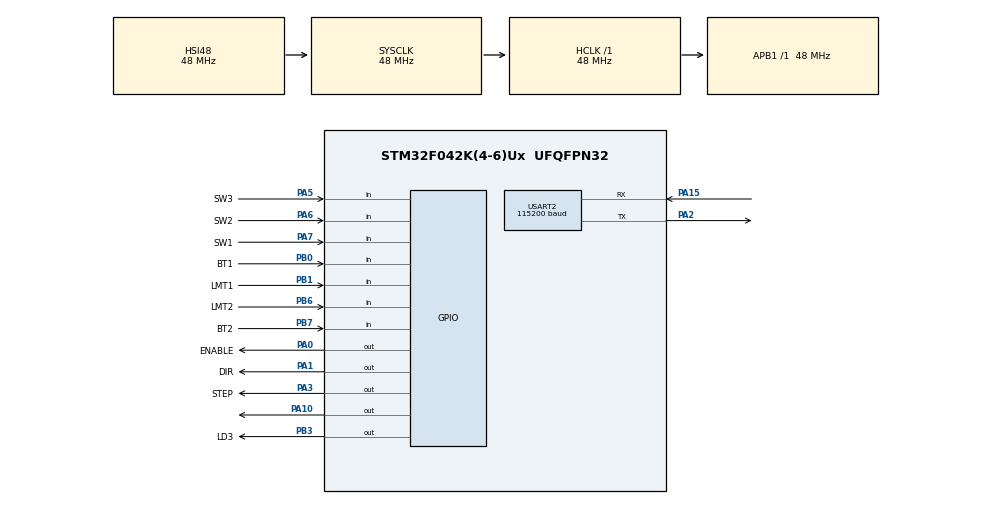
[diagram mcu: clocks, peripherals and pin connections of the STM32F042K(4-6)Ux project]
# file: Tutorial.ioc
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Mcu.Family=STM32F0
Mcu.Name=STM32F042K(4-6)Ux
Mcu.Package=UFQFPN32
NVIC.USART2_IRQn=true\:0\:0\:false\:false\:true\:true\:true\:true
PA0.GPIO_Label=ENABLE
PA0.Signal=GPIO_Output
PA1.GPIO_Label=DIR
PA1.Signal=GPIO_Output
PA10.GPIO_ModeDefaultOutputPP=GPIO_MODE_OUTPUT_OD
PA10.GPIO_PuPd=GPIO_NOPULL
PA10.Signal=GPIO_Output
PA15.Mode=Asynchronous
PA15.Signal=USART2_RX
PA2.Mode=Asynchronous
PA2.Signal=USART2_TX
PA3.GPIO_Label=STEP
PA3.Signal=GPIO_Output
PA5.GPIO_Label=SW3
PA5.GPIO_PuPd=GPIO_PULLDOWN
PA5.Signal=GPIO_Input
PA6.GPIO_Label=SW2
PA6.GPIO_PuPd=GPIO_PULLDOWN
PA6.Signal=GPIO_Input
PA7.GPIO_Label=SW1
PA7.GPIO_PuPd=GPIO_PULLDOWN
PA7.Signal=GPIO_Input
PB0.GPIO_Label=BT1
PB0.GPIO_PuPd=GPIO_PULLDOWN
PB0.Signal=GPIO_Input
PB1.GPIO_Label=LMT1
PB1.GPIO_PuPd=GPIO_PULLDOWN
PB1.Signal=GPIO_Input
PB3.GPIO_Label=LD3
PB3.GPIO_PuPd=GPIO_NOPULL
PB3.Signal=GPIO_Output
PB6.GPIO_Label=LMT2
PB6.GPIO_PuPd=GPIO_PULLDOWN
PB6.Signal=GPIO_Input
PB7.GPIO_Label=BT2
PB7.GPIO_PuPd=GPIO_PULLDOWN
PB7.Signal=GPIO_Input
PF0-OSC_IN.Mode=HSE-External-Oscillator
PF0-OSC_IN.Signal=RCC_OSC_IN
PF1-OSC_OUT.Mode=HSE-External-Oscillator
PF1-OSC_OUT.Signal=RCC_OSC_OUT
ProjectManager.HeapSize=0x200
ProjectManager.StackSize=0x400
ProjectManager.TargetToolchain=STM32CubeIDE
RCC.AHBFreq_Value=48000000
RCC.APB1Freq_Value=48000000
RCC.APB1TimFreq_Value=48000000
RCC.HCLKFreq_Value=48000000
RCC.SYSCLKFreq_VALUE=48000000
RCC.SYSCLKSource=RCC_SYSCLKSOURCE_HSI48
TIM1.Prescaler=47
TIM2.Prescaler=47
USART2.BaudRate=115200
USART2.VirtualMode-Asynchronous=VM_ASYNC
VP_TIM1_VS_ClockSourceINT.Mode=Internal
VP_TIM2_VS_ClockSourceINT.Mode=Internal
board=custom

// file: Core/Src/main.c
/* USER CODE BEGIN Header */
/**
  ******************************************************************************
  * @file           : main.c
  * @brief          : Main program body
  ******************************************************************************
  * @attention
  *
  * Copyright (c) 2025 STMicroelectronics.
  * All rights reserved.
  *
  * This software is licensed under terms that can be found in the LICENSE file
  * in the root directory of this software component.
  * If no LICENSE file comes with this software, it is provided AS-IS.
  *
  ******************************************************************************
  */
/* USER CODE END Header */
#include "main.h"

/* USER CODE BEGIN Includes */
#include <stdio.h>
#include <stdint.h>
#include <stdbool.h>
#include <stdlib.h>
#include <string.h>  // for memset
/* USER CODE END Includes */

TIM_HandleTypeDef htim1;
TIM_HandleTypeDef htim2;

UART_HandleTypeDef huart2;

/* USER CODE BEGIN PV */
uint8_t tx_buffer[16];
//uint8_t rx_data[16];
/* USER CODE END PV */

void SystemClock_Config(void);
static void MX_GPIO_Init(void);
static void MX_TIM1_Init(void);
static void MX_USART2_UART_Init(void);
static void MX_TIM2_Init(void);

/* USER CODE BEGIN 0 */

#define DIR_PIN DIR_Pin
#define DIR_PORT GPIOA
#define STEP_PIN STEP_Pin
#define STEP_PORT GPIOA
const int MICROSTEPS = 25600;
const int Velocity = 120; // (rpm)
const uint32_t temp = (uint32_t)1000000UL * 60UL / (2UL * Velocity * MICROSTEPS);
const int stepDelay = (uint16_t)temp; // 1000us more delay means less speed
const float pitch = 4.0f;  //mm / rev

const uint32_t comm_freq = 10; // Hz
const uint32_t comm_delay = (uint32_t)1000000UL / comm_freq;
float current_distance = 0.0f;

//Every Step
float dx = pitch / (float)MICROSTEPS;

#define RX_BUFFER_SIZE 16
uint8_t rx_data[1];              // Single char buffer for interrupt
char rx_buffer[RX_BUFFER_SIZE];  // Larger buffer to accumulate received text
uint8_t rx_index = 0;            // Index into rx_buffer
uint8_t transfer_cplt = 0;       // Flag: full command received

bool paired_flag = 0;
bool distance_feedback_flag = 0;
bool move_flag = 0;
bool calibration_flag = 0;
bool gpio_flag = 0;
bool error_flag = 0;
float desired_distance = 0.0f;

void microDelay (uint16_t delay)
{
  __HAL_TIM_SET_COUNTER(&htim1, 0);
  while (__HAL_TIM_GET_COUNTER(&htim1) < delay);
}

void move_forward(){
	HAL_GPIO_WritePin(DIR_PORT, ENABLE_Pin, GPIO_PIN_SET);
	HAL_GPIO_WritePin(DIR_PORT, DIR_PIN, GPIO_PIN_SET);
    HAL_GPIO_WritePin(STEP_PORT, STEP_PIN, GPIO_PIN_SET);
	microDelay(stepDelay);
	HAL_GPIO_WritePin(STEP_PORT, STEP_PIN, GPIO_PIN_RESET);
	microDelay(stepDelay);
	current_distance += dx;}

void move_backwards(){
	HAL_GPIO_WritePin(DIR_PORT, ENABLE_Pin, GPIO_PIN_SET);
	HAL_GPIO_WritePin(DIR_PORT, DIR_PIN, GPIO_PIN_RESET);
    HAL_GPIO_WritePin(STEP_PORT, STEP_PIN, GPIO_PIN_SET);
	microDelay(stepDelay);
	HAL_GPIO_WritePin(STEP_PORT, STEP_PIN, GPIO_PIN_RESET);
	microDelay(stepDelay);
	current_distance -= dx;}

void stop_motor(){
	HAL_GPIO_WritePin(DIR_PORT, ENABLE_Pin, GPIO_PIN_SET);
	HAL_GPIO_WritePin(DIR_PORT, DIR_PIN, GPIO_PIN_RESET);
	HAL_GPIO_WritePin(STEP_PORT, STEP_PIN, GPIO_PIN_RESET);
}

bool read_BT1(void) {
    return (HAL_GPIO_ReadPin(GPIOB, BT1_Pin) == GPIO_PIN_SET);
}

bool read_BT2(void) {
    return (HAL_GPIO_ReadPin(GPIOB, BT2_Pin) == GPIO_PIN_SET);
}

bool read_LMT1(void) {
    return (HAL_GPIO_ReadPin(GPIOB, LMT1_Pin) == GPIO_PIN_SET);
}

bool read_LMT2(void) {
    return (HAL_GPIO_ReadPin(GPIOB, LMT2_Pin) == GPIO_PIN_SET);
}

bool read_SW1(void) {
    return (HAL_GPIO_ReadPin(GPIOA, SW1_Pin) == GPIO_PIN_SET);
}

bool read_SW2(void) {
	return (HAL_GPIO_ReadPin(GPIOA, SW2_Pin) == GPIO_PIN_SET);
}

bool read_SW3(void) {
	return (HAL_GPIO_ReadPin(GPIOA, SW3_Pin) == GPIO_PIN_SET);
}

void turn_on_led(void){
	HAL_GPIO_WritePin(LD3_GPIO_Port, LD3_Pin, GPIO_PIN_SET);
}

void turn_off_led(void){
	HAL_GPIO_WritePin(LD3_GPIO_Port, LD3_Pin, GPIO_PIN_RESET);
}

typedef enum {
    STATE_START = 0,
    STATE_FORWARD,
    STATE_BACKWARDS,
    STATE_STOP_MAX,
    STATE_STOP_MIN,
	STATE_CALIBRATE,
	STATE_MOVE
} LogicStates;

typedef enum {
	FLAG_NULL = 0,
    FLAG_PAIRED,
    FLAG_FEEDBACK,
    FLAG_MOVE,
	FLAG_MOVE_FINISHED,
    FLAG_CALIBRATION,
    FLAG_CALIBRATION_FINISHED,
    FLAG_GPIO,
	FLAG_ERROR
} Flags;

static Flags raised_flag = FLAG_NULL;
/* USER CODE END 0 */

int main(void)
{

  /* MCU Configuration--------------------------------------------------------*/

  /* Reset of all peripherals, Initializes the Flash interface and the Systick. */
  HAL_Init();

  /* Configure the system clock */
  SystemClock_Config();

  /* Initialize all configured peripherals */
  MX_GPIO_Init();
  MX_TIM1_Init();
  MX_USART2_UART_Init();
  MX_TIM2_Init();
  /* USER CODE BEGIN 2 */
  HAL_TIM_Base_Start(&htim1);
  HAL_TIM_Base_Start(&htim2);
  HAL_UART_Receive_IT(&huart2, rx_data, 1);
  static LogicStates currentState = STATE_START;
  bool com_cycle_begun = 0;

  /* USER CODE END 2 */

  /* Infinite loop */
  /* USER CODE BEGIN WHILE */
  while (1)
  {

	  //COMUNICATION PROTOCOL
	  if (com_cycle_begun == 0){
	  	  __HAL_TIM_SET_COUNTER(&htim2, 0);
	  	  com_cycle_begun = 1;}

	  else if (__HAL_TIM_GET_COUNTER(&htim2) >= comm_delay){
		  // 1) Scale by 10 for one decimal place, then round
		  int scaled_distance = (int)(current_distance*10 + 0.5f);

		  // Construct the output string (integer placeholders)
		  snprintf((char*)tx_buffer, sizeof(tx_buffer),
					  "DX: %03d mm\n\r",
					  scaled_distance);
		  //HAL_UART_Transmit_IT(&huart2, tx_buffer,sizeof(tx_buffer));
		  com_cycle_begun = 0;
		  uint8_t replyMsg[20];
		  memset(replyMsg, ' ', sizeof(replyMsg));
		  switch (raised_flag)  {

		  	  case FLAG_NULL:
		  		  break;

		      case FLAG_PAIRED:
		    	  strcpy((char*)replyMsg, "PAIRED\n\r");
		    	  HAL_UART_Transmit_IT(&huart2, replyMsg, strlen((char*)replyMsg));
		    	  raised_flag = FLAG_NULL;
		  		  break;

		      case FLAG_FEEDBACK:
		      {
		          // First ensure the distance is in [0..300]
		          int distance = (int)current_distance;
		          if (distance < 0)     distance = 0;
		          if (distance > 300)   distance = 300;

		          // Build the reply: "DXXXU#L#1#2#3#"
		          //  - %03d formats the distance with 3 digits (e.g. 007, 042, 300)
		          //  - read_LMT1(), read_LMT2(), read_SW1(), read_SW2(), read_SW3() each
		          //    return 0 or 1, so those get inserted as single digits.
		          sprintf((char*)replyMsg,
		                  "D%03dU%dL%d1%d2%d3%d\n\r",
		                  distance,
		                  (int)read_LMT1(),
		                  (int)read_LMT2(),
		                  (int)read_SW1(),
		                  (int)read_SW2(),
		                  (int)read_SW3());

		          // Transmit the message
		          HAL_UART_Transmit_IT(&huart2, replyMsg, strlen((char*)replyMsg));
		          raised_flag = FLAG_NULL;
		      }
		      break;

		      case FLAG_MOVE:
		    	  // First ensure the distance is in [0..300]
				  int distance = (int)current_distance;
				  if (distance < 0)     distance = 0;
				  if (distance > 300)   distance = 300;

				  // Build the reply: "DXXXU#L#1#2#3#"
				  //  - %03d formats the distance with 3 digits (e.g. 007, 042, 300)
				  //  - read_LMT1(), read_LMT2(), read_SW1(), read_SW2(), read_SW3() each
				  //    return 0 or 1, so those get inserted as single digits.
				  sprintf((char*)replyMsg,
						  "D%03dU%dL%d1%d2%d3%d\n\r",
						  distance,
						  (int)read_LMT1(),
						  (int)read_LMT2(),
						  (int)read_SW1(),
						  (int)read_SW2(),
						  (int)read_SW3());

				  // Transmit the message
				  HAL_UART_Transmit_IT(&huart2, replyMsg, strlen((char*)replyMsg));

		    	  break;
		      case FLAG_MOVE_FINISHED:
		    	  strcpy((char*)replyMsg, "GOAL REACHED\n\r");
				  HAL_UART_Transmit_IT(&huart2, replyMsg, strlen((char*)replyMsg));
				  raised_flag = FLAG_NULL;
		    	  break;

		      case FLAG_CALIBRATION:
		    	  strcpy((char*)replyMsg, "CALIBRATING\n\r");
		    	  HAL_UART_Transmit_IT(&huart2, replyMsg, strlen((char*)replyMsg));
		    	  break;
		      case FLAG_CALIBRATION_FINISHED:
				  strcpy((char*)replyMsg, "CALIBRATION DONE\n\r");
				  HAL_UART_Transmit_IT(&huart2, replyMsg, strlen((char*)replyMsg));
				  raised_flag = FLAG_NULL;
				  break;

		      case FLAG_GPIO:
		    	  if (read_LMT1()){
		    		  strcpy((char*)replyMsg, "GPIO 1 0\n\r");}
		    	  else if (read_LMT2()){
		    		  strcpy((char*)replyMsg, "GPIO 0 1\n\r");}
		  	  	  else{
		  	  		  strcpy((char*)replyMsg, "GPIO 0 0\n\r"); }

		    	  HAL_UART_Transmit_IT(&huart2, replyMsg, strlen((char*)replyMsg));
		    	  raised_flag = FLAG_NULL;
		    	  break;

		      case FLAG_ERROR:
		    	  strcpy((char*)replyMsg, "ERROR\n\r");
		    	  HAL_UART_Transmit_IT(&huart2, replyMsg, strlen((char*)replyMsg));
		    	  raised_flag = FLAG_NULL;
		    	  break;

		      default:
		    	  break;}

	  }

	  switch (currentState){
		  case STATE_START:
			  turn_off_led();
			  stop_motor();

			  if (read_BT1()) {
				  currentState = STATE_FORWARD;}
			  else if (read_BT2()) {
				  currentState = STATE_BACKWARDS;}
			  else if (raised_flag == FLAG_CALIBRATION){
				  currentState = STATE_CALIBRATE;}
			  else if (raised_flag == FLAG_MOVE){
				  currentState = STATE_MOVE;}

			  break;

		  case STATE_FORWARD:
			  move_forward();
			  turn_on_led();

			  if (read_BT1() == false) {
				  currentState = STATE_START;}

			  else if (read_LMT2()) {
				  currentState = STATE_STOP_MAX;}

			  break;

		  case STATE_BACKWARDS:
			  move_backwards();
			  turn_on_led();

			  if (read_BT2() == false) {
				  currentState = STATE_START;}

			  else if (read_LMT1()) {
				  currentState = STATE_STOP_MIN;}

			  break;

		  case STATE_STOP_MAX:
			  turn_off_led();
			  stop_motor();
			  if (read_BT2()) {
				currentState = STATE_BACKWARDS;}

			  break;

		  case STATE_STOP_MIN:
			  turn_off_led();
			  stop_motor();
			  current_distance = 0.0f;
			  if (read_BT1()) {
				  currentState = STATE_FORWARD;}

			  break;

		  case STATE_CALIBRATE:
			  turn_on_led();
			  move_backwards();
			  if (read_LMT1()) {
				  current_distance = 0.0f;
				  raised_flag = FLAG_CALIBRATION_FINISHED;
			  	  currentState = STATE_START;}

			  else if (read_BT1() || read_BT2()) {
				  raised_flag = FLAG_CALIBRATION_FINISHED;
				  currentState = STATE_START;}

			  break;

		  case STATE_MOVE:
			  turn_on_led();

			  if (abs(desired_distance - current_distance) <= 0.5f){
				  raised_flag = FLAG_MOVE_FINISHED;
			  	  currentState = STATE_START;}

			  else if (desired_distance > current_distance){
			  	  move_forward();}
			  else if (desired_distance < current_distance){
				  move_backwards();}

			  else if (read_BT1() || read_BT2()) {
				  raised_flag = FLAG_NULL;
				  currentState = STATE_START;}

			  break;

		  default:

			  printf("Unknown state! Forcing STOP.\n");
			  currentState = STATE_START;
			  break;
	  }

    /* USER CODE END WHILE */

    /* USER CODE BEGIN 3 */
	  //HAL_GPIO_WritePin(GPIOA, GPIO_PIN_2, GPIO_PIN_RESET);

//	  if (read_BT1()) {
//		  move_forward();
//	  	  turn_on_led();}
//
//	  else if (read_BT2()) {
//		  move_backwards();
//		  turn_on_led();}
//	  else{
//		  stop_motor();
//		  turn_off_led();}
//
//	  if (read_LMT1() ||read_LMT2()){
//		  turn_on_led();}
//	  else{
//		  turn_off_led();}

  }
  /* USER CODE END 3 */
}

void SystemClock_Config(void)
{
  RCC_OscInitTypeDef RCC_OscInitStruct = {0};
  RCC_ClkInitTypeDef RCC_ClkInitStruct = {0};

  /** Initializes the RCC Oscillators according to the specified parameters
  * in the RCC_OscInitTypeDef structure.
  */
  RCC_OscInitStruct.OscillatorType = RCC_OSCILLATORTYPE_HSI48;
  RCC_OscInitStruct.HSI48State = RCC_HSI48_ON;
  RCC_OscInitStruct.PLL.PLLState = RCC_PLL_NONE;
  if (HAL_RCC_OscConfig(&RCC_OscInitStruct) != HAL_OK)
  {
    Error_Handler();
  }

  /** Initializes the CPU, AHB and APB buses clocks
  */
  RCC_ClkInitStruct.ClockType = RCC_CLOCKTYPE_HCLK|RCC_CLOCKTYPE_SYSCLK
                              |RCC_CLOCKTYPE_PCLK1;
  RCC_ClkInitStruct.SYSCLKSource = RCC_SYSCLKSOURCE_HSI48;
  RCC_ClkInitStruct.AHBCLKDivider = RCC_SYSCLK_DIV1;
  RCC_ClkInitStruct.APB1CLKDivider = RCC_HCLK_DIV1;

  if (HAL_RCC_ClockConfig(&RCC_ClkInitStruct, FLASH_LATENCY_1) != HAL_OK)
  {
    Error_Handler();
  }
}

static void MX_TIM1_Init(void)
{

  TIM_ClockConfigTypeDef sClockSourceConfig = {0};
  TIM_MasterConfigTypeDef sMasterConfig = {0};

  htim1.Instance = TIM1;
  htim1.Init.Prescaler = 47;
  htim1.Init.CounterMode = TIM_COUNTERMODE_UP;
  htim1.Init.Period = 65535;
  htim1.Init.ClockDivision = TIM_CLOCKDIVISION_DIV1;
  htim1.Init.RepetitionCounter = 0;
  htim1.Init.AutoReloadPreload = TIM_AUTORELOAD_PRELOAD_DISABLE;
  if (HAL_TIM_Base_Init(&htim1) != HAL_OK)
  {
    Error_Handler();
  }
  sClockSourceConfig.ClockSource = TIM_CLOCKSOURCE_INTERNAL;
  if (HAL_TIM_ConfigClockSource(&htim1, &sClockSourceConfig) != HAL_OK)
  {
    Error_Handler();
  }
  sMasterConfig.MasterOutputTrigger = TIM_TRGO_RESET;
  sMasterConfig.MasterSlaveMode = TIM_MASTERSLAVEMODE_DISABLE;
  if (HAL_TIMEx_MasterConfigSynchronization(&htim1, &sMasterConfig) != HAL_OK)
  {
    Error_Handler();
  }

}

static void MX_TIM2_Init(void)
{

  TIM_ClockConfigTypeDef sClockSourceConfig = {0};
  TIM_MasterConfigTypeDef sMasterConfig = {0};

  htim2.Instance = TIM2;
  htim2.Init.Prescaler = 47;
  htim2.Init.CounterMode = TIM_COUNTERMODE_UP;
  htim2.Init.Period = 4294967295;
  htim2.Init.ClockDivision = TIM_CLOCKDIVISION_DIV1;
  htim2.Init.AutoReloadPreload = TIM_AUTORELOAD_PRELOAD_DISABLE;
  if (HAL_TIM_Base_Init(&htim2) != HAL_OK)
  {
    Error_Handler();
  }
  sClockSourceConfig.ClockSource = TIM_CLOCKSOURCE_INTERNAL;
  if (HAL_TIM_ConfigClockSource(&htim2, &sClockSourceConfig) != HAL_OK)
  {
    Error_Handler();
  }
  sMasterConfig.MasterOutputTrigger = TIM_TRGO_RESET;
  sMasterConfig.MasterSlaveMode = TIM_MASTERSLAVEMODE_DISABLE;
  if (HAL_TIMEx_MasterConfigSynchronization(&htim2, &sMasterConfig) != HAL_OK)
  {
    Error_Handler();
  }

}

static void MX_USART2_UART_Init(void)
{

  huart2.Instance = USART2;
  huart2.Init.BaudRate = 115200;
  huart2.Init.WordLength = UART_WORDLENGTH_8B;
  huart2.Init.StopBits = UART_STOPBITS_1;
  huart2.Init.Parity = UART_PARITY_NONE;
  huart2.Init.Mode = UART_MODE_TX_RX;
  huart2.Init.HwFlowCtl = UART_HWCONTROL_NONE;
  huart2.Init.OverSampling = UART_OVERSAMPLING_16;
  huart2.Init.OneBitSampling = UART_ONE_BIT_SAMPLE_DISABLE;
  huart2.AdvancedInit.AdvFeatureInit = UART_ADVFEATURE_NO_INIT;
  if (HAL_UART_Init(&huart2) != HAL_OK)
  {
    Error_Handler();
  }

}

static void MX_GPIO_Init(void)
{
  GPIO_InitTypeDef GPIO_InitStruct = {0};

  /* GPIO Ports Clock Enable */
  __HAL_RCC_GPIOF_CLK_ENABLE();
  __HAL_RCC_GPIOA_CLK_ENABLE();
  __HAL_RCC_GPIOB_CLK_ENABLE();

  /*Configure GPIO pin Output Level */
  HAL_GPIO_WritePin(GPIOA, ENABLE_Pin|DIR_Pin|STEP_Pin|GPIO_PIN_10, GPIO_PIN_RESET);

  /*Configure GPIO pin Output Level */
  HAL_GPIO_WritePin(LD3_GPIO_Port, LD3_Pin, GPIO_PIN_RESET);

  /*Configure GPIO pins : ENABLE_Pin DIR_Pin STEP_Pin */
  GPIO_InitStruct.Pin = ENABLE_Pin|DIR_Pin|STEP_Pin;
  GPIO_InitStruct.Mode = GPIO_MODE_OUTPUT_PP;
  GPIO_InitStruct.Pull = GPIO_NOPULL;
  GPIO_InitStruct.Speed = GPIO_SPEED_FREQ_LOW;
  HAL_GPIO_Init(GPIOA, &GPIO_InitStruct);

  /*Configure GPIO pins : SW3_Pin SW2_Pin SW1_Pin */
  GPIO_InitStruct.Pin = SW3_Pin|SW2_Pin|SW1_Pin;
  GPIO_InitStruct.Mode = GPIO_MODE_INPUT;
  GPIO_InitStruct.Pull = GPIO_PULLDOWN;
  HAL_GPIO_Init(GPIOA, &GPIO_InitStruct);

  /*Configure GPIO pins : BT1_Pin LMT1_Pin LMT2_Pin BT2_Pin */
  GPIO_InitStruct.Pin = BT1_Pin|LMT1_Pin|LMT2_Pin|BT2_Pin;
  GPIO_InitStruct.Mode = GPIO_MODE_INPUT;
  GPIO_InitStruct.Pull = GPIO_PULLDOWN;
  HAL_GPIO_Init(GPIOB, &GPIO_InitStruct);

  /*Configure GPIO pin : PA10 */
  GPIO_InitStruct.Pin = GPIO_PIN_10;
  GPIO_InitStruct.Mode = GPIO_MODE_OUTPUT_OD;
  GPIO_InitStruct.Pull = GPIO_NOPULL;
  GPIO_InitStruct.Speed = GPIO_SPEED_FREQ_LOW;
  HAL_GPIO_Init(GPIOA, &GPIO_InitStruct);

  /*Configure GPIO pin : LD3_Pin */
  GPIO_InitStruct.Pin = LD3_Pin;
  GPIO_InitStruct.Mode = GPIO_MODE_OUTPUT_PP;
  GPIO_InitStruct.Pull = GPIO_NOPULL;
  GPIO_InitStruct.Speed = GPIO_SPEED_FREQ_LOW;
  HAL_GPIO_Init(LD3_GPIO_Port, &GPIO_InitStruct);

}

/* USER CODE BEGIN 4 */

void HAL_UART_RxCpltCallback(UART_HandleTypeDef *huart)
{
	UNUSED(huart);
//	memset(rx_data, 0, sizeof(rx_data));
//	snprintf((char*)tx_buffer, sizeof(tx_buffer),
//						  "RECEIVED");
//	HAL_UART_Transmit(&huart2, tx_buffer, 16,10);

	if (huart->Instance == USART2) // Check we're handling USART2
	{
		// If this is the first character of a new message, clear the buffer
		if (rx_index == 0)
		{
			// Clear the buffer
			for (uint8_t i = 0; i < RX_BUFFER_SIZE; i++)
			{
				rx_buffer[i] = 0;			}

		}

		// Check if we received a carriage return (ASCII 13, '\r')
		if (rx_data[0] != 13)
		{
			// Store the received character and increment index
			rx_buffer[rx_index++] = rx_data[0];

			// Prevent buffer overflow
			if (rx_index >= RX_BUFFER_SIZE - 1)
			{
				rx_index = 0;
			}
		}
		else
		{
			// We got a '\r' → treat it as end of command
			rx_index = 0;
			transfer_cplt = 1; // Mark command as complete

			// Optionally send back a newline/return to the sender

			// Example: if the buffer contains "LED ON", turn LED on

			if (!strcmp(rx_buffer, "PAIRING")){
				raised_flag = FLAG_PAIRED;}

			else if (strcmp(rx_buffer, "STATUS") == 0){
				raised_flag = FLAG_FEEDBACK;}

			else if ((strncmp(rx_buffer, "MV ", 3) == 0)){
				int moveValue  = atoi(rx_buffer + 3);
				if (moveValue >= 0 && moveValue <= 250){
					raised_flag = FLAG_MOVE;
					desired_distance = moveValue;}
				else{
					raised_flag = FLAG_ERROR;}}

			else if (strcmp(rx_buffer, "CALIBRATE") == 0){
				raised_flag = FLAG_CALIBRATION;}

			else if (strcmp(rx_buffer, "GPIO") == 0){
				raised_flag = FLAG_GPIO;}
			else{
				raised_flag = FLAG_ERROR;}

			// You could handle other commands here (e.g. "LED OFF", "CALIB", etc.)
		}

		// Echo the received character (optional)
		//HAL_UART_Transmit(&huart2, rx_data, 1, 100);

		// Re-enable interrupt reception of the next character
		HAL_UART_Receive_IT(&huart2, rx_data, 1);
	}
}

/* USER CODE END 4 */

void Error_Handler(void)
{
  __disable_irq();
  while (1)
  {
  }
}
